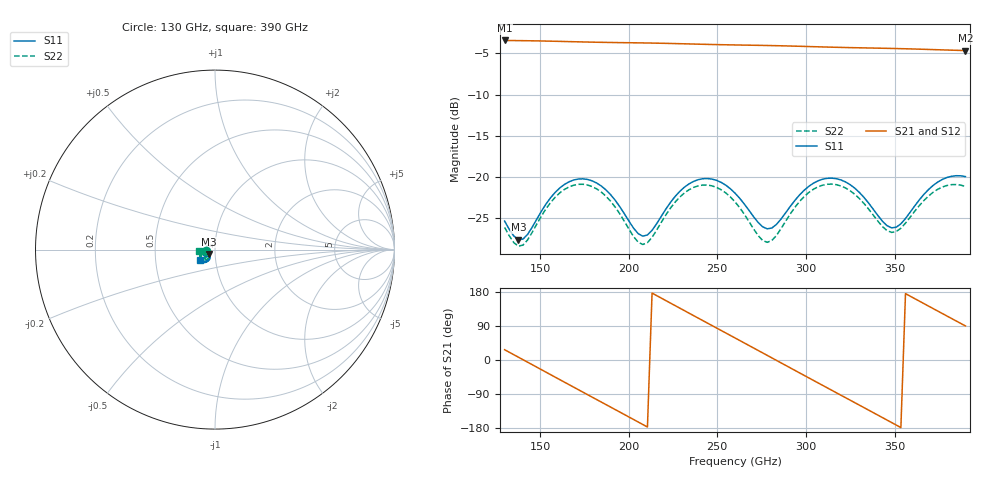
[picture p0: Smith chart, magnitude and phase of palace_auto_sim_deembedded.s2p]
! Created with skrf 1.11.0 (http://scikit-rf.org).
# GHz S DB R 50.0
!freq dBS11 angS11 dBS21 angS21 dBS12 angS12 dBS22 angS22
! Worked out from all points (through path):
!   101 points, 130 GHz to 390 GHz, reference 50 ohm
!   highest |S21| = -3.42 dB at 130 GHz (marker M1); lowest = -4.6 dB at 390 GHz (marker M2)
!   group delay of S21, straight-line fit = 7.02 ps
!   lowest |S11| = -27.6 dB at 137.8 GHz (marker M3), VSWR 1.09, Z = 46.6 - j2.21 ohm
!   |S11| at or under -10 dB: start of sweep to end of sweep
!   |S22| runs from -28.4 to -20.9 dB; largest |S21 - S12| = 7.5e-14
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130  -25.35 -163.6  -3.42 27.1  -3.42 27.1  -26.11 -170.8
137.8  -27.62 -145.4  -3.44 7.4  -3.44 7.4  -28.40 -152.0
153.4  -23.27 -119.8  -3.50 -32.2  -3.50 -32.2  -23.85 -127.9
163.8  -20.89 -130.0  -3.55 -58.6  -3.55 -58.6  -21.50 -139.3
174.2  -20.22 -145.1  -3.60 -84.9  -3.60 -84.9  -20.88 -155.5
187.2  -21.57 -162.5  -3.66 -117.7  -3.66 -117.7  -22.33 -174.0
200.2  -25.37 -164.9  -3.70 -150.5  -3.70 -150.5  -26.34 -177.0
208  -27.18 -146.7  -3.72 -170.3  -3.72 -170.3  -28.19 -157.8
218.4  -24.77 -124.1  -3.76 163.3  -3.76 163.3  -25.51 -135.6
239.2  -20.33 -138.9  -3.87 110.7  -3.87 110.7  -21.07 -153.6
249.6  -20.41 -152.7  -3.92 84.4  -3.92 84.4  -21.26 -168.8
260  -21.95 -163.5  -3.97 58.2  -3.97 58.2  -23.01 179.3
278.2  -26.29 -147.0  -4.03 12.2  -4.03 12.2  -27.93 -161.0
291.2  -23.57 -125.7  -4.10 -20.8  -4.10 -20.8  -24.48 -138.9
304.2  -20.76 -133.3  -4.18 -53.7  -4.18 -53.7  -21.49 -149.0
314.6  -20.14 -145.8  -4.24 -79.9  -4.24 -79.9  -20.86 -163.1
325  -20.94 -157.9  -4.29 -106.1  -4.29 -106.1  -21.67 -176.4
338  -23.91 -163.1  -4.35 -138.8  -4.35 -138.8  -24.62 177.5
348.4  -26.18 -145.3  -4.39 -165.1  -4.39 -165.1  -26.73 -166.2
366.6  -22.11 -123.3  -4.50 148.8  -4.50 148.8  -22.85 -148.5
379.6  -20.06 -134.7  -4.58 116.1  -4.58 116.1  -21.03 -161.8
390  -19.95 -146.7  -4.65 89.9  -4.65 89.9  -21.15 -175.5
